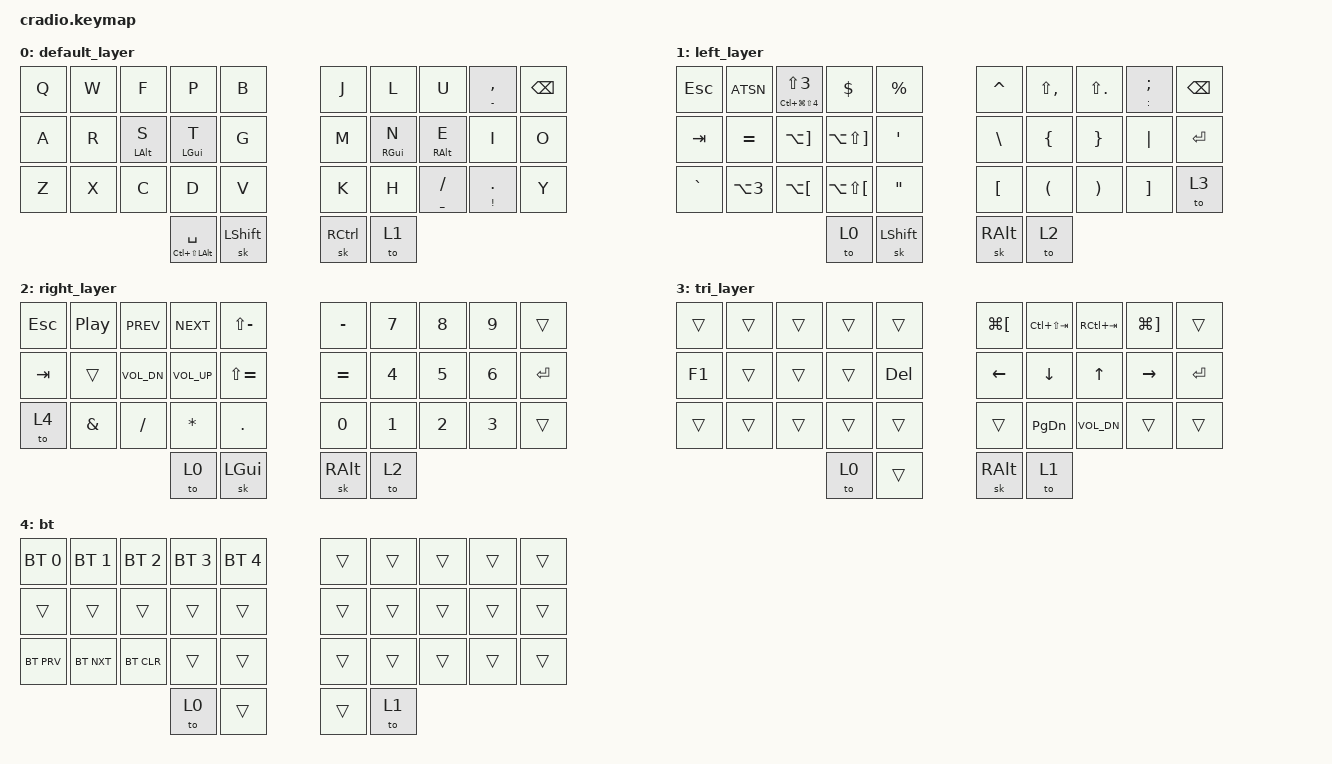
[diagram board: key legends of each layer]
/*
 * Copyright (c) 2020 The ZMK Contributors
 *
 * SPDX-License-Identifier: MIT
 */

#include <behaviors.dtsi>
#include <dt-bindings/zmk/keys.h>
#include <dt-bindings/zmk/bt.h>

&mt {
    flavor = "tap-preferred";
    tapping_term_ms = <200>;
};

&mmv {
    time-to-max-speed-ms = <680>;
    acceleration-exponent = <2>;
};

/ {
    behaviors {
        hm: homerow_mods {
            compatible = "zmk,behavior-hold-tap";
            label = "HOMEROW_MODS";
            #binding-cells = <2>;
            tapping-term-ms = <200>;
            quick_tap_ms = <0>;
            flavor = "tap-preferred";
            bindings = <&kp>, <&kp>;
        };
        td: tapdance {
            compatible = "zmk,behavior-hold-tap";
            label = "TAPDANCE";
            #binding-cells = <2>;
            tapping-term-ms = <150>;
            quick_tap_ms = <0>;
            flavor = "tap-preferred";
            bindings = <&kp>, <&kp>;
        };
    };

    keymap {
        compatible = "zmk,keymap";

        default_layer {
            bindings = <
                &kp Q &kp W &kp F &kp P &kp B             &kp J &kp L &kp U &td MINUS COMMA &kp BKSP
                &kp A &kp R &hm LALT S &hm LGUI T &kp G   &kp M &hm RGUI N &hm RALT E &kp I &kp O
                &kp Z &kp X &kp C &kp D &kp V             &kp K &kp H &td UNDERSCORE SLASH &td EXCL DOT &kp Y
                
				&mt LC(LS(LALT)) SPC                      &sk LSHIFT &sk RCTRL &to 1
            >;
        };

        left_layer {
            bindings = <
                &kp ESC &kp ATSN &td LC(LG(LS(N4))) LS(N3) &kp DLLR &kp PRCNT            &kp CARET &kp LS(COMMA) &kp LS(DOT) &td COLON SEMI &kp BKSP
                &kp TAB &kp EQUAL &kp LA(RBKT) &kp LA(LS(RBKT)) &kp SQT                  &kp BSLH &kp LBRC &kp RBRC &kp PIPE &kp ENTER
                &kp GRAVE &kp LA(N3) &kp LA(LBKT) &kp LA(LS(LBKT)) &kp DQT               &kp LBKT &kp LPRN &kp RPRN &kp RBKT &to 3
                
				&to 0 &sk LSHIFT 														 &sk RALT &to 2
            >;
        };

        right_layer {
            bindings = <
                &kp ESC &kp C_PP &kp C_PREV &kp C_NEXT &kp LS(MINUS)       &kp MINUS &kp N7 &kp N8 &kp N9 &trans
                &kp TAB &trans &kp C_VOL_DN &kp C_VOL_UP &kp LS(EQUAL)     &kp EQUAL &kp N4 &kp N5 &kp N6 &kp ENTER
                &to 4 &kp AMPS &kp SLASH &kp STAR &kp DOT                  &kp N0 &kp N1 &kp N2 &kp N3 &trans
                
				&to 0 &sk LGUI    										   &sk RALT &to 2
            >;
        };

        tri_layer {
            bindings = <
                &trans &trans &trans &trans &trans          &kp LG(LBKT) &kp LC(LS(TAB)) &kp RC(TAB) &kp LG(RBKT) &trans
                &kp F1 &trans &trans &trans &kp DEL 	    &kp LEFT &kp DOWN &kp UP &kp RIGHT &kp ENTER
                &trans &trans &trans &trans &trans          &trans &kp PG_DN &kp K_VOL_DN &trans &trans
                
				&to 0 &trans 															 &sk RALT &to 1
            >;
        };

        bt {
            bindings = <
                &bt BT_SEL 0 &bt BT_SEL 1 &bt BT_SEL 2 &bt BT_SEL 3 &bt BT_SEL 4       &trans &trans &trans &trans &trans
                &trans &trans &trans &trans &trans 									   &trans &trans &trans &trans &trans
                &bt BT_PRV &bt BT_NXT &bt BT_CLR &trans &trans 						   &trans &trans &trans &trans &trans
				
				&to 0 &trans 														   &trans &to 1
            >;
        };
    };
};
